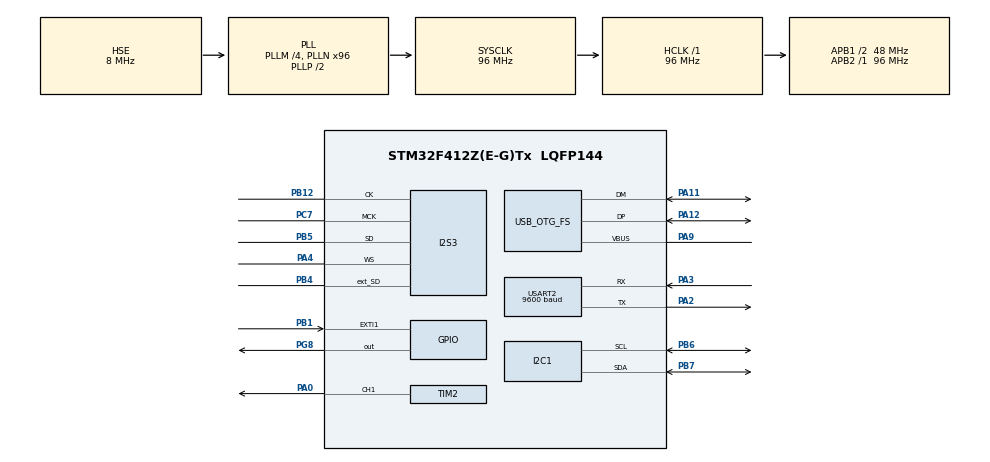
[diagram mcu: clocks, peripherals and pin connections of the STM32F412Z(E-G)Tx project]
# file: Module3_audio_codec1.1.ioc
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Dma.I2S3_EXT_RX.1.Direction=DMA_PERIPH_TO_MEMORY
Dma.I2S3_EXT_RX.1.FIFOMode=DMA_FIFOMODE_DISABLE
Dma.I2S3_EXT_RX.1.Instance=DMA1_Stream0
Dma.I2S3_EXT_RX.1.MemDataAlignment=DMA_MDATAALIGN_HALFWORD
Dma.I2S3_EXT_RX.1.MemInc=DMA_MINC_ENABLE
Dma.I2S3_EXT_RX.1.Mode=DMA_NORMAL
Dma.I2S3_EXT_RX.1.PeriphDataAlignment=DMA_PDATAALIGN_HALFWORD
Dma.I2S3_EXT_RX.1.PeriphInc=DMA_PINC_DISABLE
Dma.I2S3_EXT_RX.1.Priority=DMA_PRIORITY_LOW
Dma.Request0=SPI3_TX
Dma.Request1=I2S3_EXT_RX
Dma.SPI3_TX.0.Direction=DMA_MEMORY_TO_PERIPH
Dma.SPI3_TX.0.FIFOMode=DMA_FIFOMODE_DISABLE
Dma.SPI3_TX.0.Instance=DMA1_Stream5
Dma.SPI3_TX.0.MemDataAlignment=DMA_MDATAALIGN_HALFWORD
Dma.SPI3_TX.0.MemInc=DMA_MINC_ENABLE
Dma.SPI3_TX.0.Mode=DMA_NORMAL
Dma.SPI3_TX.0.PeriphDataAlignment=DMA_PDATAALIGN_HALFWORD
Dma.SPI3_TX.0.PeriphInc=DMA_PINC_DISABLE
Dma.SPI3_TX.0.Priority=DMA_PRIORITY_LOW
FATFS._USE_LFN=1
I2S3.AudioFreq=I2S_AUDIOFREQ_48K
I2S3.ErrorAudioFreq=-2.34 %
I2S3.FullDuplexMode=I2S_FULLDUPLEXMODE_ENABLE
I2S3.Instance=SPI$Index
I2S3.RealAudioFreq=46.875 KHz
I2S3.VirtualMode=I2S_MODE_MASTER
Mcu.Family=STM32F4
Mcu.Name=STM32F412Z(E-G)Tx
Mcu.Package=LQFP144
NVIC.DMA1_Stream0_IRQn=true\:0\:0\:false\:false\:true\:false\:true\:true
NVIC.DMA1_Stream5_IRQn=true\:0\:0\:false\:false\:true\:false\:true\:true
NVIC.OTG_FS_IRQn=true\:0\:0\:false\:false\:true\:false\:true\:true
NVIC.PriorityGroup=NVIC_PRIORITYGROUP_4
PA0.Signal=S_TIM2_CH1_ETR
PA11.Mode=Host_Only
PA11.Signal=USB_OTG_FS_DM
PA12.Mode=Host_Only
PA12.Signal=USB_OTG_FS_DP
PA2.Mode=Asynchronous
PA2.Signal=USART2_TX
PA3.Mode=Asynchronous
PA3.Signal=USART2_RX
PA4.Mode=Full_Duplex_Master
PA4.Signal=I2S3_WS
PA9.Mode=Activate_VBUS
PA9.Signal=USB_OTG_FS_VBUS
PB1.GPIO_PuPd=GPIO_PULLDOWN
PB1.Signal=GPXTI1
PB12.Mode=Full_Duplex_Master
PB12.Signal=I2S3_CK
PB4.Mode=Full_Duplex_Master
PB4.Signal=I2S3_ext_SD
PB5.Mode=Full_Duplex_Master
PB5.Signal=I2S3_SD
PB6.GPIO_Pu=GPIO_NOPULL
PB6.Mode=I2C
PB6.Signal=I2C1_SCL
PB7.GPIO_Pu=GPIO_NOPULL
PB7.Mode=I2C
PB7.Signal=I2C1_SDA
PC7.Mode=Master_Clock_Activated
PC7.Signal=I2S3_MCK
PG8.Signal=GPIO_Output
PH0\ -\ OSC_IN.Mode=HSE-External-Oscillator
PH0\ -\ OSC_IN.Signal=RCC_OSC_IN
PH1\ -\ OSC_OUT.Mode=HSE-External-Oscillator
PH1\ -\ OSC_OUT.Signal=RCC_OSC_OUT
ProjectManager.HeapSize=0x200
ProjectManager.StackSize=0x400
ProjectManager.TargetToolchain=STM32CubeIDE
RCC.AHBFreq_Value=96000000
RCC.APB1CLKDivider=RCC_HCLK_DIV2
RCC.APB1Freq_Value=48000000
RCC.APB1TimFreq_Value=96000000
RCC.APB2Freq_Value=96000000
RCC.APB2TimFreq_Value=96000000
RCC.CortexFreq_Value=96000000
RCC.HCLKFreq_Value=96000000
RCC.HSE_VALUE=8000000
RCC.PLLI2SM=8
RCC.PLLI2SP=RCC_PLLI2SP_DIV8
RCC.PLLI2SQ=4
RCC.PLLI2SR=4
RCC.PLLM=4
RCC.PLLN=96
RCC.PLLQ=4
RCC.PLLSourceVirtual=RCC_PLLSOURCE_HSE
RCC.SYSCLKFreq_VALUE=96000000
RCC.SYSCLKSource=RCC_SYSCLKSOURCE_PLLCLK
RCC.USBFreq_Value=48000000
RCC.VCOOutputFreq_Value=192000000
SH.S_TIM2_CH1_ETR.0=TIM2_CH1,PWM Generation1 CH1
TIM2.Channel-PWM\ Generation1\ CH1=TIM_CHANNEL_1
TIM2.Period=1000
TIM2.Pulse-PWM\ Generation1\ CH1=500
USART2.BaudRate=9600
USART2.VirtualMode=VM_ASYNC
USB_HOST.BSP.number=1
USB_HOST.USBH_HandleTypeDef=hUsbHostFS
USB_HOST.VirtualModeFS=Msc
USB_HOST0.BSP.STBoard=false
USB_HOST0.BSP.api=Unknown
USB_HOST0.BSP.condition=SW_VBUS_DRIVE_MSC_FS \= false
USB_HOST0.BSP.instance=PG8
USB_HOST0.BSP.ip=GPIO
USB_HOST0.BSP.mode=Output
USB_HOST0.BSP.name=Drive_VBUS_FS
USB_HOST0.BSP.solution=PG8
USB_OTG_FS.VirtualMode=Host_Only
USB_OTG_FS.phy_itface=HCD_PHY_EMBEDDED
VP_FATFS_VS_USB.Mode=USB
VP_TIM2_VS_ClockSourceINT.Mode=Internal
VP_USB_HOST_VS_USB_HOST_MSC_FS.Mode=MSC_FS
board=custom

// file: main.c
/* USER CODE BEGIN Header */
/**
  ******************************************************************************
  * @file           : main.c
  * @brief          : Main program body
  ******************************************************************************
  * @attention
  *
  * Copyright (c) 2025 STMicroelectronics.
  * All rights reserved.
  *
  * This software is licensed under terms that can be found in the LICENSE file
  * in the root directory of this software component.
  * If no LICENSE file comes with this software, it is provided AS-IS.
  *
  ******************************************************************************
  */
/* USER CODE END Header */
#include "main.h"
#include "fatfs.h"
#include "usb_host.h"

/* USER CODE BEGIN Includes */
#include "wm8994.h"
#include "AUDIO.h"
#include "AUDIO_LINK.h"
#include "File_Handling.h"
#include "waveplayer.h"
#include "math.h"
#include "stdlib.h"
#include "stddef.h"
#include "stdio.h"
#include "string.h"
/* USER CODE END Includes */

/* USER CODE BEGIN PD */
#define AUDIO_BUFFER_SIZE 512
#define WM8994_I2C_ADDR_7BIT  0x1A
WM8994_Object_t wm8994;
#define FREQUENCY 1000.0f   // 1kHz tone
#define SAMPLE_RATE 48000.0f     // Not directly used, but for reference
#define AMPLITUDE 32767.0f
#define M_PI 3.14159265358979323846

/* USER CODE END PD */

I2C_HandleTypeDef hi2c1;

I2S_HandleTypeDef hi2s3;
DMA_HandleTypeDef hdma_spi3_tx;
DMA_HandleTypeDef hdma_i2s3_ext_rx;

TIM_HandleTypeDef htim2;

UART_HandleTypeDef huart2;

/* USER CODE BEGIN PV */

int16_t audio_buffer[AUDIO_BUFFER_SIZE];
//AUDIO_PLAYBACK_StateTypeDef AudioState = AUDIO_STATE_STOP;
char msg[50];
char data[50];
/* USER CODE END PV */

void SystemClock_Config(void);
static void MX_GPIO_Init(void);
static void MX_DMA_Init(void);
static void MX_I2C1_Init(void);
static void MX_I2S3_Init(void);
static void MX_USART2_UART_Init(void);
static void MX_TIM2_Init(void);
void MX_USB_HOST_Process(void);

/* USER CODE BEGIN PFP */
void generate_sine_wave(int16_t *buffer, uint32_t buffer_size);
/* USER CODE END PFP */

/* USER CODE BEGIN 0 */
extern ApplicationTypeDef Appli_state;
extern AUDIO_PLAYBACK_StateTypeDef AudioState;

int IsFinished = 0;

void HAL_GPIO_EXTI_Callback(uint16_t GPIO_Pin)
{
	if (GPIO_Pin == GPIO_PIN_1)
	{
//		AudioState = AUDIO_STATE_NEXT;
		if (AudioState == AUDIO_STATE_PLAY)
		{
			AudioState = AUDIO_STATE_PAUSE;
		}

		if (AudioState == AUDIO_STATE_WAIT)
		{
			AudioState = AUDIO_STATE_RESUME;
		}
	}
}
static int32_t Codec_I2C_Write(uint16_t DevAddr, uint16_t Reg,
                               uint8_t *pData, uint16_t Length)
{
    return HAL_I2C_Mem_Write(&hi2c1, DevAddr, Reg,
                             I2C_MEMADD_SIZE_16BIT, pData, Length, 1000);
}
static int32_t Codec_I2C_Read(uint16_t DevAddr, uint16_t Reg,
                              uint8_t *pData, uint16_t Length)
{
    return HAL_I2C_Mem_Read(&hi2c1, DevAddr, Reg,
                            I2C_MEMADD_SIZE_16BIT, pData, Length, 1000);
}
static int32_t Codec_GetTick(void) { return (int32_t)HAL_GetTick(); }

static int32_t Codec_IO_Init(void)
{
    return WM8994_OK;
}
static int32_t Codec_IO_DeInit(void)
{
    return WM8994_OK;
}
void generate_sine_wave(int16_t *buffer, uint32_t buffer_size) {
    static float sample_idx = 0.0f;
    float phase_increment = 2.0f * M_PI * FREQUENCY / SAMPLE_RATE;  // Frequency to phase increment

    for (uint32_t i = 0; i < buffer_size; i+=2) {
        // Generate sine wave sample
        int16_t sample = (int16_t)(AMPLITUDE * sinf(phase_increment * sample_idx));
        buffer[i]     = sample;  // Left
        buffer[i + 1] = sample;
        sample_idx += 1.0f;

        // Handle overflow of sample index
        if (sample_idx >= SAMPLE_RATE) {
            sample_idx -= SAMPLE_RATE;
        }
    }
}
void HAL_I2S_TxHalfCpltCallback(I2S_HandleTypeDef *hi2s) {
    // Regenerate the second half of the audio buffer
    generate_sine_wave(&audio_buffer[AUDIO_BUFFER_SIZE / 2], AUDIO_BUFFER_SIZE / 2);
    const char *s = "HalfCplt\r\n";
        HAL_UART_Transmit(&huart2, (uint8_t*)s, strlen(s), 100);
}

void HAL_I2S_TxCpltCallback(I2S_HandleTypeDef *hi2s) {
    // Regenerate the first half of the audio buffer
    generate_sine_wave(&audio_buffer[0], AUDIO_BUFFER_SIZE / 2);
    const char *s = "Cplt\r\n";

    HAL_UART_Transmit(&huart2, (uint8_t*)s, strlen(s), 100);

}

/* USER CODE END 0 */

int main(void)
{

  /* MCU Configuration--------------------------------------------------------*/

  /* Reset of all peripherals, Initializes the Flash interface and the Systick. */
  HAL_Init();

  /* Configure the system clock */
  SystemClock_Config();

  /* Initialize all configured peripherals */
  MX_GPIO_Init();
  MX_DMA_Init();
  MX_I2C1_Init();
  MX_I2S3_Init();
  MX_USART2_UART_Init();
  MX_FATFS_Init();
  MX_USB_HOST_Init();
  MX_TIM2_Init();
  /* USER CODE BEGIN 2 */
  //WM8994_Init(&wm8994);
  if (HAL_I2C_IsDeviceReady(&hi2c1, (WM8994_I2C_ADDR_7BIT << 1), 3, 1000) != HAL_OK) {
        const char *msg="Codec not ready\r\n";
        HAL_UART_Transmit(&huart2,(uint8_t*)msg,strlen(msg),100);
    }
  WM8994_IO_t io = {
        .Init     = Codec_IO_Init,
        .DeInit   = Codec_IO_DeInit,
        .Address  = (uint16_t)(WM8994_I2C_ADDR_7BIT << 1), // HAL expects 8-bit addr
        .WriteReg = Codec_I2C_Write,
        .ReadReg  = Codec_I2C_Read,
        .GetTick  = Codec_GetTick
    };
    if (WM8994_RegisterBusIO(&wm8994, &io) != WM8994_OK) {
        const char *msg = "BusIO reg failed\r\n";
        HAL_UART_Transmit(&huart2,(uint8_t*)msg,strlen(msg),100);
        Error_Handler();
    }
    WM8994_Init_t cfg = {
          .InputDevice  = WM8994_IN_NONE,
          .OutputDevice = WM8994_OUT_HEADPHONE,
          .Frequency    = WM8994_FREQUENCY_48K,
          .Resolution   = WM8994_RESOLUTION_16b,
          .Volume       = 90
      };
  if (WM8994_Init(&wm8994, &cfg) == WM8994_OK) {
       const char *ok = "WM8994 init OK\r\n";
       HAL_UART_Transmit(&huart2,(uint8_t*)ok,strlen(ok),100);
   } else {
     const char *er = "WM8994 init ERROR\r\n";
     HAL_UART_Transmit(&huart2,(uint8_t*)er,strlen(er),100);
  }
  uint32_t id;
  if (WM8994_ReadID(&wm8994, &id) == WM8994_OK) {
       sprintf(msg, "WM8994 ID: 0x%04lX\r\n", id);
       HAL_UART_Transmit(&huart2, (uint8_t*)msg, strlen(msg), 100);
       } else {
         const char *er = "ReadID failed\r\n";
         HAL_UART_Transmit(&huart2,(uint8_t*)er,strlen(er),100);
   }
//  if (AUDIO_OUT_Init(WM8994_OUT_HEADPHONE, 70, 48000) != 0) {
//      // Handle initialization error
//      Error_Handler();
//  }
  int32_t ret = WM8994_SetOutputMode(&wm8994, WM8994_OUT_HEADPHONE);
  if(ret != WM8994_OK) {
      // Error handling
  }
  //AUDIO_OUT_Play((uint16_t*)audio_buffer, AUDIO_BUFFER_SIZE);
  generate_sine_wave(audio_buffer, AUDIO_BUFFER_SIZE);
  HAL_I2S_Transmit_DMA(&hi2s3, (uint16_t*)audio_buffer, AUDIO_BUFFER_SIZE);

//  for (int i = 0; i < AUDIO_BUFFER_SIZE; i++) {
//      sprintf(msg, "%d\r\n", audio_buffer[i]);
//      HAL_UART_Transmit(&huart2, (uint8_t*)msg, strlen(msg), 100);
//  }
  //WM8994_SetVolume(&wm8994, 70);

  /* USER CODE END 2 */

  /* Infinite loop */
  while (1)
  {
    MX_USB_HOST_Process();

    /* USER CODE BEGIN 3 */
	  HAL_Delay(1000);
//	  if(Appli_state == APPLICATION_READY)
//	  {
//		  Mount_USB();
//		  AUDIO_PLAYER_Start(0);
//		  while(!IsFinished)
//		  {
//			  AUDIO_PLAYER_Process(TRUE);
//			  if(AudioState == AUDIO_STATE_STOP)
//			  {
//				  IsFinished = 1;
//			  }
//		  }
//	  }

  }
  /* USER CODE END 3 */
}

void SystemClock_Config(void)
{
  RCC_OscInitTypeDef RCC_OscInitStruct = {0};
  RCC_ClkInitTypeDef RCC_ClkInitStruct = {0};
  RCC_PeriphCLKInitTypeDef PeriphClkInitStruct = {0};

  /** Configure the main internal regulator output voltage
  */
  __HAL_RCC_PWR_CLK_ENABLE();
  __HAL_PWR_VOLTAGESCALING_CONFIG(PWR_REGULATOR_VOLTAGE_SCALE1);

  /** Initializes the RCC Oscillators according to the specified parameters
  * in the RCC_OscInitTypeDef structure.
  */
  RCC_OscInitStruct.OscillatorType = RCC_OSCILLATORTYPE_HSE;
  RCC_OscInitStruct.HSEState = RCC_HSE_ON;
  RCC_OscInitStruct.PLL.PLLState = RCC_PLL_ON;
  RCC_OscInitStruct.PLL.PLLSource = RCC_PLLSOURCE_HSE;
  RCC_OscInitStruct.PLL.PLLM = 4;
  RCC_OscInitStruct.PLL.PLLN = 96;
  RCC_OscInitStruct.PLL.PLLP = RCC_PLLP_DIV2;
  RCC_OscInitStruct.PLL.PLLQ = 4;
  RCC_OscInitStruct.PLL.PLLR = 2;
  if (HAL_RCC_OscConfig(&RCC_OscInitStruct) != HAL_OK)
  {
    Error_Handler();
  }

  /** Initializes the CPU, AHB and APB buses clocks
  */
  RCC_ClkInitStruct.ClockType = RCC_CLOCKTYPE_HCLK|RCC_CLOCKTYPE_SYSCLK
                              |RCC_CLOCKTYPE_PCLK1|RCC_CLOCKTYPE_PCLK2;
  RCC_ClkInitStruct.SYSCLKSource = RCC_SYSCLKSOURCE_PLLCLK;
  RCC_ClkInitStruct.AHBCLKDivider = RCC_SYSCLK_DIV1;
  RCC_ClkInitStruct.APB1CLKDivider = RCC_HCLK_DIV2;
  RCC_ClkInitStruct.APB2CLKDivider = RCC_HCLK_DIV1;

  if (HAL_RCC_ClockConfig(&RCC_ClkInitStruct, FLASH_LATENCY_3) != HAL_OK)
  {
    Error_Handler();
  }
  PeriphClkInitStruct.PeriphClockSelection = RCC_PERIPHCLK_I2S_APB1;
  PeriphClkInitStruct.PLLI2S.PLLI2SN = 192;
  PeriphClkInitStruct.PLLI2S.PLLI2SR = 4;
  if (HAL_RCCEx_PeriphCLKConfig(&PeriphClkInitStruct) != HAL_OK)
  {
    Error_Handler();
  }

}

static void MX_I2C1_Init(void)
{

  hi2c1.Instance = I2C1;
  hi2c1.Init.ClockSpeed = 100000;
  hi2c1.Init.DutyCycle = I2C_DUTYCYCLE_2;
  hi2c1.Init.OwnAddress1 = 0;
  hi2c1.Init.AddressingMode = I2C_ADDRESSINGMODE_7BIT;
  hi2c1.Init.DualAddressMode = I2C_DUALADDRESS_DISABLE;
  hi2c1.Init.OwnAddress2 = 0;
  hi2c1.Init.GeneralCallMode = I2C_GENERALCALL_DISABLE;
  hi2c1.Init.NoStretchMode = I2C_NOSTRETCH_DISABLE;
  if (HAL_I2C_Init(&hi2c1) != HAL_OK)
  {
    Error_Handler();
  }

}

static void MX_I2S3_Init(void)
{

  hi2s3.Instance = SPI3;
  hi2s3.Init.Mode = I2S_MODE_MASTER_TX;
  hi2s3.Init.Standard = I2S_STANDARD_PHILIPS;
  hi2s3.Init.DataFormat = I2S_DATAFORMAT_16B;
  hi2s3.Init.MCLKOutput = I2S_MCLKOUTPUT_ENABLE;
  hi2s3.Init.AudioFreq = I2S_AUDIOFREQ_48K;
  hi2s3.Init.CPOL = I2S_CPOL_LOW;
  hi2s3.Init.ClockSource = I2S_CLOCK_PLL;
  hi2s3.Init.FullDuplexMode = I2S_FULLDUPLEXMODE_ENABLE;
  if (HAL_I2S_Init(&hi2s3) != HAL_OK)
  {
    Error_Handler();
  }

}

static void MX_TIM2_Init(void)
{

  TIM_ClockConfigTypeDef sClockSourceConfig = {0};
  TIM_MasterConfigTypeDef sMasterConfig = {0};
  TIM_OC_InitTypeDef sConfigOC = {0};

  htim2.Instance = TIM2;
  htim2.Init.Prescaler = 0;
  htim2.Init.CounterMode = TIM_COUNTERMODE_UP;
  htim2.Init.Period = 1000;
  htim2.Init.ClockDivision = TIM_CLOCKDIVISION_DIV1;
  htim2.Init.AutoReloadPreload = TIM_AUTORELOAD_PRELOAD_DISABLE;
  if (HAL_TIM_Base_Init(&htim2) != HAL_OK)
  {
    Error_Handler();
  }
  sClockSourceConfig.ClockSource = TIM_CLOCKSOURCE_INTERNAL;
  if (HAL_TIM_ConfigClockSource(&htim2, &sClockSourceConfig) != HAL_OK)
  {
    Error_Handler();
  }
  if (HAL_TIM_PWM_Init(&htim2) != HAL_OK)
  {
    Error_Handler();
  }
  sMasterConfig.MasterOutputTrigger = TIM_TRGO_RESET;
  sMasterConfig.MasterSlaveMode = TIM_MASTERSLAVEMODE_DISABLE;
  if (HAL_TIMEx_MasterConfigSynchronization(&htim2, &sMasterConfig) != HAL_OK)
  {
    Error_Handler();
  }
  sConfigOC.OCMode = TIM_OCMODE_PWM1;
  sConfigOC.Pulse = 500;
  sConfigOC.OCPolarity = TIM_OCPOLARITY_HIGH;
  sConfigOC.OCFastMode = TIM_OCFAST_DISABLE;
  if (HAL_TIM_PWM_ConfigChannel(&htim2, &sConfigOC, TIM_CHANNEL_1) != HAL_OK)
  {
    Error_Handler();
  }
  HAL_TIM_MspPostInit(&htim2);

}

static void MX_USART2_UART_Init(void)
{

  huart2.Instance = USART2;
  huart2.Init.BaudRate = 9600;
  huart2.Init.WordLength = UART_WORDLENGTH_8B;
  huart2.Init.StopBits = UART_STOPBITS_1;
  huart2.Init.Parity = UART_PARITY_NONE;
  huart2.Init.Mode = UART_MODE_TX_RX;
  huart2.Init.HwFlowCtl = UART_HWCONTROL_NONE;
  huart2.Init.OverSampling = UART_OVERSAMPLING_16;
  if (HAL_UART_Init(&huart2) != HAL_OK)
  {
    Error_Handler();
  }

}

static void MX_DMA_Init(void)
{

  /* DMA controller clock enable */
  __HAL_RCC_DMA1_CLK_ENABLE();

  /* DMA interrupt init */
  /* DMA1_Stream0_IRQn interrupt configuration */
  HAL_NVIC_SetPriority(DMA1_Stream0_IRQn, 0, 0);
  HAL_NVIC_EnableIRQ(DMA1_Stream0_IRQn);
  /* DMA1_Stream5_IRQn interrupt configuration */
  HAL_NVIC_SetPriority(DMA1_Stream5_IRQn, 0, 0);
  HAL_NVIC_EnableIRQ(DMA1_Stream5_IRQn);

}

static void MX_GPIO_Init(void)
{
  GPIO_InitTypeDef GPIO_InitStruct = {0};

  /* GPIO Ports Clock Enable */
  __HAL_RCC_GPIOH_CLK_ENABLE();
  __HAL_RCC_GPIOA_CLK_ENABLE();
  __HAL_RCC_GPIOB_CLK_ENABLE();
  __HAL_RCC_GPIOG_CLK_ENABLE();
  __HAL_RCC_GPIOC_CLK_ENABLE();

  /*Configure GPIO pin Output Level */
  HAL_GPIO_WritePin(GPIOG, GPIO_PIN_8, GPIO_PIN_RESET);

  /*Configure GPIO pin : PB1 */
  GPIO_InitStruct.Pin = GPIO_PIN_1;
  GPIO_InitStruct.Mode = GPIO_MODE_IT_RISING;
  GPIO_InitStruct.Pull = GPIO_PULLDOWN;
  HAL_GPIO_Init(GPIOB, &GPIO_InitStruct);

  /*Configure GPIO pin : PG8 */
  GPIO_InitStruct.Pin = GPIO_PIN_8;
  GPIO_InitStruct.Mode = GPIO_MODE_OUTPUT_PP;
  GPIO_InitStruct.Pull = GPIO_NOPULL;
  GPIO_InitStruct.Speed = GPIO_SPEED_FREQ_LOW;
  HAL_GPIO_Init(GPIOG, &GPIO_InitStruct);

}

void Error_Handler(void)
{
  __disable_irq();
  while (1)
  {
  }
}
